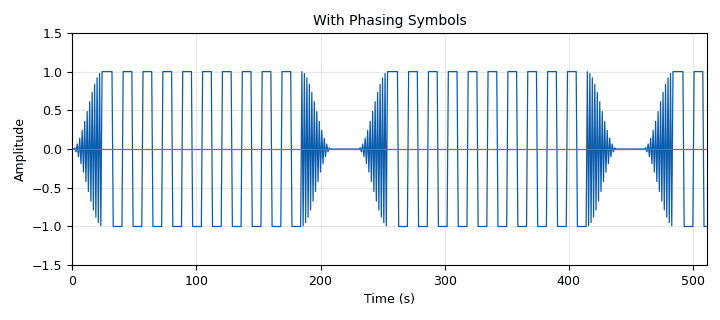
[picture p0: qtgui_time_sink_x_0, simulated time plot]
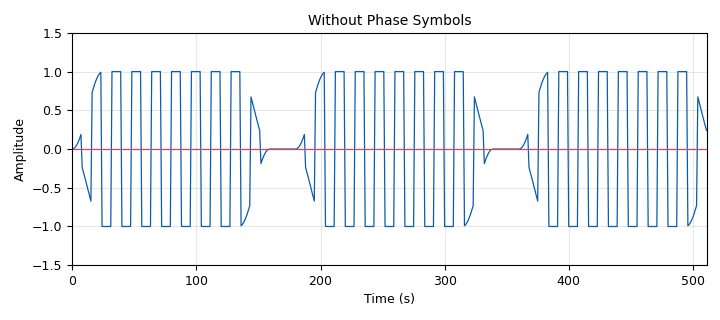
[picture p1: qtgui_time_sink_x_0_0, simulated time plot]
<?xml version='1.0' encoding='utf-8'?>
<?grc format='1' created='3.7.10'?>
<flow_graph>
<block>
<key>options</key>
<param><key>id</key><value>top_block</value></param>
<param><key>category</key><value>Custom</value></param>
<param><key>generate_options</key><value>qt_gui</value></param>
</block>
<block>
<key>variable</key>
<param><key>id</key><value>samp_rate</value></param>
<param><key>value</key><value>32000</value></param>
</block>
<block>
<key>blocks_stream_to_tagged_stream</key>
<param><key>id</key><value>blocks_stream_to_tagged_stream_0</value></param>
<param><key>len_tag_key</key><value>"packet_len"</value></param>
<param><key>packet_len</key><value>16*10</value></param>
<param><key>type</key><value>complex</value></param>
</block>
<block>
<key>blocks_throttle</key>
<param><key>id</key><value>blocks_throttle_0</value></param>
<param><key>samples_per_second</key><value>samp_rate</value></param>
<param><key>type</key><value>complex</value></param>
</block>
<block>
<key>blocks_vector_source_x</key>
<param><key>id</key><value>blocks_vector_source_x_0</value></param>
<param><key>type</key><value>complex</value></param>
<param><key>repeat</key><value>True</value></param>
<param><key>vector</key><value>[1,1,1,1,1,1,1,1,-1,-1,-1,-1,-1,-1,-1,-1]</value></param>
</block>
<block>
<key>digital_burst_shaper_xx</key>
<param><key>id</key><value>digital_burst_shaper_xx_0</value></param>
<param><key>insert_phasing</key><value>True</value></param>
<param><key>length_tag_name</key><value>packet_len</value></param>
<param><key>post_padding</key><value>20</value></param>
<param><key>pre_padding</key><value>0</value></param>
<param><key>type</key><value>complex</value></param>
<param><key>window</key><value>firdes.window(firdes.WIN_HANN, 50, 0)</value></param>
</block>
<block>
<key>digital_burst_shaper_xx</key>
<param><key>id</key><value>digital_burst_shaper_xx_0_0</value></param>
<param><key>insert_phasing</key><value>False</value></param>
<param><key>length_tag_name</key><value>packet_len</value></param>
<param><key>post_padding</key><value>20</value></param>
<param><key>pre_padding</key><value>0</value></param>
<param><key>type</key><value>complex</value></param>
<param><key>window</key><value>firdes.window(firdes.WIN_HANN, 50, 0)</value></param>
</block>
<block>
<key>qtgui_time_sink_x</key>
<param><key>id</key><value>qtgui_time_sink_x_0</value></param>
<param><key>gui_hint</key><value>0,0,1,1</value></param>
<param><key>legend</key><value>False</value></param>
<param><key>color1</key><value>"blue"</value></param>
<param><key>label1</key><value></value></param>
<param><key>color2</key><value>"red"</value></param>
<param><key>label2</key><value></value></param>
<param><key>name</key><value>With Phasing Symbols</value></param>
<param><key>size</key><value>512</value></param>
<param><key>srate</key><value>1</value></param>
<param><key>tr_mode</key><value>qtgui.TRIG_MODE_TAG</value></param>
<param><key>tr_tag</key><value>packet_len</value></param>
<param><key>type</key><value>complex</value></param>
<param><key>ymax</key><value>1.5</value></param>
<param><key>ymin</key><value>-1.5</value></param>
</block>
<block>
<key>qtgui_time_sink_x</key>
<param><key>id</key><value>qtgui_time_sink_x_0_0</value></param>
<param><key>gui_hint</key><value>1,0,1,1</value></param>
<param><key>legend</key><value>False</value></param>
<param><key>color1</key><value>"blue"</value></param>
<param><key>label1</key><value></value></param>
<param><key>color2</key><value>"red"</value></param>
<param><key>label2</key><value></value></param>
<param><key>name</key><value>Without Phase Symbols</value></param>
<param><key>size</key><value>512</value></param>
<param><key>srate</key><value>1</value></param>
<param><key>tr_mode</key><value>qtgui.TRIG_MODE_TAG</value></param>
<param><key>tr_tag</key><value>packet_len</value></param>
<param><key>type</key><value>complex</value></param>
<param><key>ymax</key><value>1.5</value></param>
<param><key>ymin</key><value>-1.5</value></param>
</block>
<connection><source_block_id>blocks_stream_to_tagged_stream_0</source_block_id><sink_block_id>digital_burst_shaper_xx_0</sink_block_id><source_key>0</source_key><sink_key>0</sink_key></connection>
<connection><source_block_id>blocks_stream_to_tagged_stream_0</source_block_id><sink_block_id>digital_burst_shaper_xx_0_0</sink_block_id><source_key>0</source_key><sink_key>0</sink_key></connection>
<connection><source_block_id>blocks_throttle_0</source_block_id><sink_block_id>blocks_stream_to_tagged_stream_0</sink_block_id><source_key>0</source_key><sink_key>0</sink_key></connection>
<connection><source_block_id>blocks_vector_source_x_0</source_block_id><sink_block_id>blocks_throttle_0</sink_block_id><source_key>0</source_key><sink_key>0</sink_key></connection>
<connection><source_block_id>digital_burst_shaper_xx_0</source_block_id><sink_block_id>qtgui_time_sink_x_0</sink_block_id><source_key>0</source_key><sink_key>0</sink_key></connection>
<connection><source_block_id>digital_burst_shaper_xx_0_0</source_block_id><sink_block_id>qtgui_time_sink_x_0_0</sink_block_id><source_key>0</source_key><sink_key>0</sink_key></connection>
</flow_graph>
